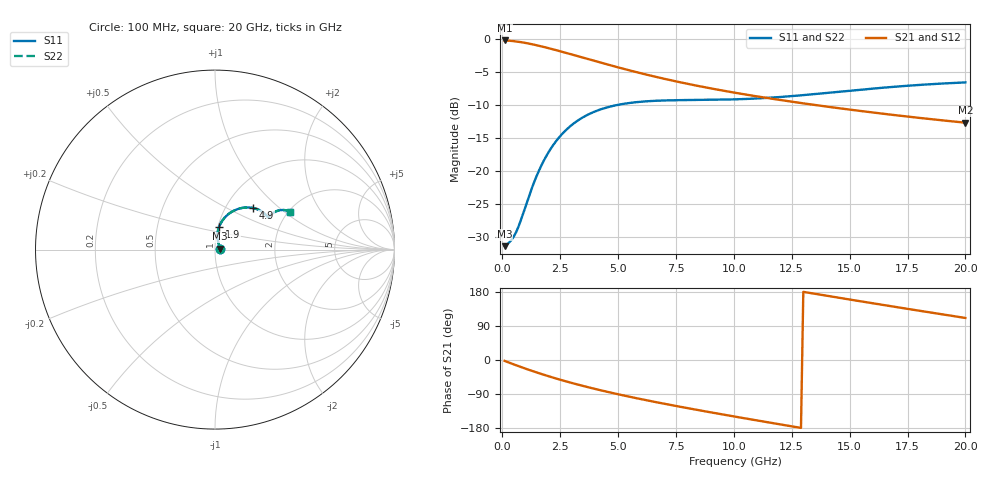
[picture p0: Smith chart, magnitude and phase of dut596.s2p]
! Touchstone file exported from HFSS 2024.1.0
!  File:  C:/UserFiles/LocalFiles/RDL_TSV_Batchsim/temp_RDL_TSV_596_1779760609.aedt
!  Generated:  10:11:15 AM May 26, 2026
!  Design:  RDL_TSV
!  Project:  temp_RDL_TSV_596_1779760609
!  Setup:  Setup1
!  Solution:  Sweep
! Variables:
!  dtsv = 12.55um
!  hbump = 3um
!  htsv = 89.95um
!  ldown = 196.27um
!  lrdl = 678.14um
!  p = 40
!  p1 = 58.52um
!  rhole = 10um
!  subl = 3301.37um
!  t = 450um
!  tdown = 2.6um
!  trdl = 3.44um
!  viad = 10um
!  wdown = 11.07um
!  wrdl = 13.93um
!  xbump = 18um
# GHz S MA R 50.000000
! Terminal data exported
! Port[1] = TM1_1_T1
! Port[2] = TM1_4_T1
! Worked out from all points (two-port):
!   200 points, 100 MHz to 20 GHz, reference 50 ohm
!   highest |S21| = -0.24 dB at 100 MHz (marker M1); lowest = -12.7 dB at 20 GHz (marker M2)
!   |S21| within 3 dB of the highest: start of sweep to 3.888 GHz
!   lowest |S11| = -31.4 dB at 100 MHz (marker M3), VSWR 1.06, Z = 52.7 + j0.458 ohm
!   |S11| at or under -10 dB: start of sweep to 4.978 GHz
!   |S22| runs from -31.4 to -6.6 dB; largest |S21 - S12| = 9.6e-15
!   S11 on the Smith chart (normalised r, x): 100 MHz: 1.05, +0.01; 1.9 GHz: 1.01, +0.26; 4.9 GHz: 1.34, +0.69; 20 GHz: 2.03, +1.10
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0.1  0.02698 9.3  0.9727 -2.4  0.9727 -2.4  0.02698 9.3
! Gamma 0 0 0 0
! Port Impedance 50 0 50 0
0.4  0.03014 34.1  0.965 -9.4  0.965 -9.4  0.03013 34.1
0.6  0.03452 50.1  0.9559 -14.0  0.9559 -14.0  0.03452 50.2
1  0.05374 72.8  0.9317 -22.8  0.9317 -22.8  0.05375 72.8
1.4  0.0844 80.5  0.9016 -31.1  0.9016 -31.1  0.08443 80.5
1.9  0.1297 79.7  0.8592 -41.0  0.8592 -41.0  0.1297 79.7
2.2  0.1572 76.9  0.8326 -46.6  0.8326 -46.6  0.1573 77.0
2.6  0.1919 72.3  0.797 -53.8  0.797 -53.8  0.192 72.3
3  0.223 67.3  0.7619 -60.6  0.7619 -60.6  0.2232 67.4
3.5  0.2559 61.3  0.7197 -68.6  0.7197 -68.6  0.2561 61.3
4.2  0.2907 53.8  0.6647 -79.2  0.6647 -79.2  0.291 53.8
4.9  0.3142 47.4  0.6152 -89.1  0.6152 -89.1  0.3146 47.5
5.8  0.332 41.1  0.5596 -100.9  0.5596 -100.9  0.3324 41.1
6.8  0.3409 36.2  0.5077 -113.1  0.5077 -113.1  0.3413 36.2
8.4  0.3447 32.0  0.4422 -131.5  0.4422 -131.5  0.3451 32.0
10.1  0.3487 31.1  0.3897 -150.0  0.3897 -150.0  0.349 31.0
11.7  0.36 31.6  0.3511 -166.8  0.3511 -166.8  0.3602 31.6
13.4  0.3807 32.2  0.3177 175.7  0.3177 175.7  0.3809 32.2
15.1  0.4065 31.9  0.29 158.6  0.29 158.6  0.4066 31.9
16.7  0.4307 30.8  0.268 142.8  0.268 142.8  0.4308 30.7
18.3  0.4516 29.0  0.2491 127.2  0.2491 127.2  0.4516 29.0
20  0.4681 26.9  0.2322 110.9  0.2322 110.9  0.4681 26.9
